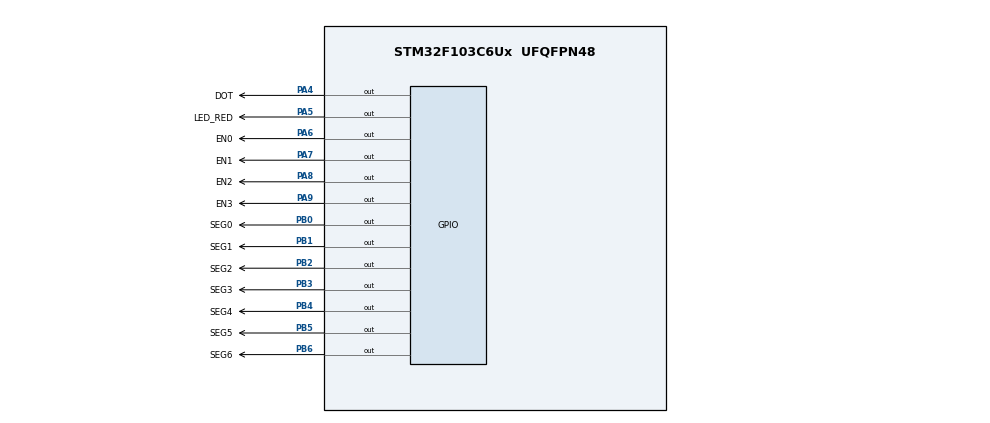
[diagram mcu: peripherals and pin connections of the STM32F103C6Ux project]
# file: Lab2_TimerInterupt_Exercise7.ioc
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Mcu.Family=STM32F1
Mcu.Name=STM32F103C6Ux
Mcu.Package=UFQFPN48
NVIC.PriorityGroup=NVIC_PRIORITYGROUP_4
NVIC.TIM2_IRQn=true\:0\:0\:false\:false\:true\:true\:true
PA4.GPIO_Label=DOT
PA4.Signal=GPIO_Output
PA5.GPIO_Label=LED_RED
PA5.Signal=GPIO_Output
PA6.GPIO_Label=EN0
PA6.Signal=GPIO_Output
PA7.GPIO_Label=EN1
PA7.Signal=GPIO_Output
PA8.GPIO_Label=EN2
PA8.Signal=GPIO_Output
PA9.GPIO_Label=EN3
PA9.Signal=GPIO_Output
PB0.GPIO_Label=SEG0
PB0.Signal=GPIO_Output
PB1.GPIO_Label=SEG1
PB1.Signal=GPIO_Output
PB2.GPIO_Label=SEG2
PB2.Signal=GPIO_Output
PB3.GPIO_Label=SEG3
PB3.Signal=GPIO_Output
PB4.GPIO_Label=SEG4
PB4.Signal=GPIO_Output
PB5.GPIO_Label=SEG5
PB5.Signal=GPIO_Output
PB6.GPIO_Label=SEG6
PB6.Signal=GPIO_Output
ProjectManager.HeapSize=0x200
ProjectManager.StackSize=0x400
ProjectManager.TargetToolchain=STM32CubeIDE
RCC.APB1Freq_Value=8000000
RCC.APB2Freq_Value=8000000
TIM2.Period=9
TIM2.Prescaler=7999
VP_SYS_VS_ND.Mode=No_Debug
VP_TIM2_VS_ClockSourceINT.Mode=Internal
board=custom

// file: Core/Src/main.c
/* USER CODE BEGIN Header */
/**
  ******************************************************************************
  * @file           : main.c
  * @brief          : Main program body
  ******************************************************************************
  * @attention
  *
  * <h2><center>&copy; Copyright (c) 2022 STMicroelectronics.
  * All rights reserved.</center></h2>
  *
  * This software component is licensed by ST under BSD 3-Clause license,
  * the "License"; You may not use this file except in compliance with the
  * License. You may obtain a copy of the License at:
  *                        opensource.org/licenses/BSD-3-Clause
  *
  ******************************************************************************
  */
/* USER CODE END Header */
#include "main.h"

TIM_HandleTypeDef htim2;

void SystemClock_Config(void);
static void MX_GPIO_Init(void);
static void MX_TIM2_Init(void);

/* USER CODE BEGIN 0 */
//counter to change the frequency of 4 seven segment leds to 1Hz
const int COUNTER_SCAN_1HZ = 25;
int timer7seg_counter = 0;
int timer7seg_flag = 0;
int timerClock_counter = 0;
int timerClock_flag = 0;
int timerDOT_counter = 0;
int timerDOT_flag = 0;
int TIMER_CYCLE = 10;

void setTimerClock(int duration){
	timerClock_counter = duration / TIMER_CYCLE;
	timerClock_flag = 0;
}

void setTimerDOT(int duration){
	timerDOT_counter = duration / TIMER_CYCLE;
	timerDOT_flag = 0;
}

void setTimer7SEG(int duration){
	timer7seg_counter = duration / TIMER_CYCLE;
	timer7seg_flag = 0;
}

void timerRun(){
	if (timerClock_counter > 0){
		timerClock_counter--;
		if (timerClock_counter == 0) timerClock_flag = 1;
	}
	if (timerDOT_counter > 0){
		timerDOT_counter--;
		if (timerDOT_counter == 0) timerDOT_flag = 1;
	}
	if (timer7seg_counter > 0){
		timer7seg_counter--;
		if (timer7seg_counter == 0) timer7seg_flag = 1;
	}
}

void display7SEG(int num){
	//outputs: SEG7 -> SEG0
	//outputs with value of 0 (RESET) will be turn on
	//outputs with value of 1 (SET) will be turn off
	if (num == 0){ //100 0000
		HAL_GPIO_WritePin(GPIOB, SEG0_Pin|SEG1_Pin|SEG2_Pin
								|SEG3_Pin|SEG4_Pin|SEG5_Pin, GPIO_PIN_RESET);
		HAL_GPIO_WritePin(GPIOB, SEG6_Pin, GPIO_PIN_SET);
	}
	else if (num == 1){ //111 1001
		HAL_GPIO_WritePin(GPIOB, SEG1_Pin|SEG2_Pin, GPIO_PIN_RESET);
		HAL_GPIO_WritePin(GPIOB, SEG0_Pin|SEG3_Pin|SEG4_Pin
								|SEG5_Pin|SEG6_Pin, GPIO_PIN_SET);
	}
	else if (num == 2){ //010 0100
		HAL_GPIO_WritePin(GPIOB, SEG0_Pin|SEG1_Pin|SEG3_Pin
								|SEG4_Pin|SEG6_Pin, GPIO_PIN_RESET);
		HAL_GPIO_WritePin(GPIOB, SEG2_Pin|SEG5_Pin, GPIO_PIN_SET);
	}
	else if (num == 3){ //011 0000
		HAL_GPIO_WritePin(GPIOB, SEG0_Pin|SEG1_Pin|SEG2_Pin
								|SEG3_Pin|SEG6_Pin, GPIO_PIN_RESET);
		HAL_GPIO_WritePin(GPIOB, SEG4_Pin|SEG5_Pin, GPIO_PIN_SET);
	}
	else if (num == 4){ //001 1001
		HAL_GPIO_WritePin(GPIOB, SEG1_Pin|SEG2_Pin|SEG5_Pin
								|SEG6_Pin, GPIO_PIN_RESET);
		HAL_GPIO_WritePin(GPIOB, SEG0_Pin|SEG3_Pin|SEG4_Pin, GPIO_PIN_SET);
	}
	else if (num == 5){ //001 0010
		HAL_GPIO_WritePin(GPIOB, SEG0_Pin|SEG2_Pin|SEG3_Pin
								|SEG5_Pin|SEG6_Pin, GPIO_PIN_RESET);
		HAL_GPIO_WritePin(GPIOB, SEG1_Pin|SEG4_Pin, GPIO_PIN_SET);
	}
	else if (num == 6){ //000 0010
		HAL_GPIO_WritePin(GPIOB, SEG0_Pin|SEG2_Pin|SEG3_Pin
								|SEG4_Pin|SEG5_Pin|SEG6_Pin, GPIO_PIN_RESET);
		HAL_GPIO_WritePin(GPIOB, SEG1_Pin, GPIO_PIN_SET);
	}
	else if (num == 7){ //111 1000
		HAL_GPIO_WritePin(GPIOB, SEG0_Pin|SEG1_Pin|SEG2_Pin, GPIO_PIN_RESET);
		HAL_GPIO_WritePin(GPIOB, SEG3_Pin|SEG4_Pin|SEG5_Pin
								|SEG6_Pin, GPIO_PIN_SET);
	}
	else if (num == 8){ //000 0000
		HAL_GPIO_WritePin(GPIOB, SEG0_Pin|SEG1_Pin|SEG2_Pin
								|SEG3_Pin|SEG4_Pin|SEG5_Pin
								|SEG6_Pin, GPIO_PIN_RESET);
	}
	else if (num == 9){ //001 0000
		HAL_GPIO_WritePin(GPIOB, SEG0_Pin|SEG1_Pin|SEG2_Pin
								|SEG3_Pin|SEG5_Pin|SEG6_Pin, GPIO_PIN_RESET);
		HAL_GPIO_WritePin(GPIOB, SEG4_Pin, GPIO_PIN_SET);
	}
}

const int MAX_LED = 4;
int index_led = 0;
int led_buffer[4] = {1, 2, 3, 4};
void update7SEG(int index){
	switch (index){
		case 0:
			//turn on first 7seg led only
			HAL_GPIO_WritePin(EN0_GPIO_Port, EN0_Pin, GPIO_PIN_RESET);
			HAL_GPIO_WritePin(EN1_GPIO_Port, EN1_Pin, GPIO_PIN_SET);
			HAL_GPIO_WritePin(EN2_GPIO_Port, EN2_Pin, GPIO_PIN_SET);
			HAL_GPIO_WritePin(EN3_GPIO_Port, EN3_Pin, GPIO_PIN_SET);
			break;
		case 1:
			//turn on second 7seg led only
			HAL_GPIO_WritePin(EN0_GPIO_Port, EN0_Pin, GPIO_PIN_SET);
			HAL_GPIO_WritePin(EN1_GPIO_Port, EN1_Pin, GPIO_PIN_RESET);
			HAL_GPIO_WritePin(EN2_GPIO_Port, EN2_Pin, GPIO_PIN_SET);
			HAL_GPIO_WritePin(EN3_GPIO_Port, EN3_Pin, GPIO_PIN_SET);
			break;
		case 2:
			//turn on third 7seg led only
			HAL_GPIO_WritePin(EN0_GPIO_Port, EN0_Pin, GPIO_PIN_SET);
			HAL_GPIO_WritePin(EN1_GPIO_Port, EN1_Pin, GPIO_PIN_SET);
			HAL_GPIO_WritePin(EN2_GPIO_Port, EN2_Pin, GPIO_PIN_RESET);
			HAL_GPIO_WritePin(EN3_GPIO_Port, EN3_Pin, GPIO_PIN_SET);
			break;
		case 3:
			//turn on fourth 7seg led only
			HAL_GPIO_WritePin(EN0_GPIO_Port, EN0_Pin, GPIO_PIN_SET);
			HAL_GPIO_WritePin(EN1_GPIO_Port, EN1_Pin, GPIO_PIN_SET);
			HAL_GPIO_WritePin(EN2_GPIO_Port, EN2_Pin, GPIO_PIN_SET);
			HAL_GPIO_WritePin(EN3_GPIO_Port, EN3_Pin, GPIO_PIN_RESET);
			break;
		default:
			break;
	}
	//display number according to led_buffer and index
	display7SEG(led_buffer[index]);
}

int hour = 23, minute = 58, second = 50;

void updateClockBuffer(){
	led_buffer[0] = hour / 10;
	led_buffer[1] = hour % 10;
	led_buffer[2] = minute / 10;
	led_buffer[3] = minute % 10;
}
/* USER CODE END 0 */

int main(void)
{

  /* MCU Configuration--------------------------------------------------------*/

  /* Reset of all peripherals, Initializes the Flash interface and the Systick. */
  HAL_Init();

  /* Configure the system clock */
  SystemClock_Config();

  /* Initialize all configured peripherals */
  MX_GPIO_Init();
  MX_TIM2_Init();
  /* USER CODE BEGIN 2 */
  HAL_TIM_Base_Start_IT(&htim2);

  setTimerClock(10);
  setTimerDOT(1000);
  setTimer7SEG(10);

  int ledDOT_state = 0;
  /* USER CODE END 2 */

  /* Infinite loop */
  /* USER CODE BEGIN WHILE */
  while (1)
  {
	  if (timerClock_flag == 1){
		  setTimerClock(1000);
		  second++;
		  if (second >= 60){
			  second = 0;
			  minute++;
		  }
		  if (minute >= 60){
			  minute = 0;
			  hour++;
		  }
		  if (hour >= 24){
			  hour = 0;
		  }
		  updateClockBuffer();
	  }

	  if (timer7seg_flag == 1){
		  //set timer for 1Hz frequency
		  setTimer7SEG(250);
		  //updated index_led to stay in valid range, which is from 0 to 3
		  index_led %= MAX_LED;
		  //update 7seg leds
		  update7SEG(index_led++);
	  }

	  if (timerDOT_flag == 1){
		  //1 second blinking
		  setTimerDOT(1000);
		  ledDOT_state = 1 - ledDOT_state;
	  }

	  switch (ledDOT_state){
		  case 0:
			  //turn DOT leds on
			  HAL_GPIO_WritePin(DOT_GPIO_Port, DOT_Pin, RESET);
			  break;
		  case 1:
			  //turn DOT leds off
			  HAL_GPIO_WritePin(DOT_GPIO_Port, DOT_Pin, SET);
			  break;
		  default:
			  break;
	  }
    /* USER CODE END WHILE */

  }
}

void SystemClock_Config(void)
{
  RCC_OscInitTypeDef RCC_OscInitStruct = {0};
  RCC_ClkInitTypeDef RCC_ClkInitStruct = {0};

  /** Initializes the RCC Oscillators according to the specified parameters
  * in the RCC_OscInitTypeDef structure.
  */
  RCC_OscInitStruct.OscillatorType = RCC_OSCILLATORTYPE_HSI;
  RCC_OscInitStruct.HSIState = RCC_HSI_ON;
  RCC_OscInitStruct.HSICalibrationValue = RCC_HSICALIBRATION_DEFAULT;
  RCC_OscInitStruct.PLL.PLLState = RCC_PLL_NONE;
  if (HAL_RCC_OscConfig(&RCC_OscInitStruct) != HAL_OK)
  {
    Error_Handler();
  }
  /** Initializes the CPU, AHB and APB buses clocks
  */
  RCC_ClkInitStruct.ClockType = RCC_CLOCKTYPE_HCLK|RCC_CLOCKTYPE_SYSCLK
                              |RCC_CLOCKTYPE_PCLK1|RCC_CLOCKTYPE_PCLK2;
  RCC_ClkInitStruct.SYSCLKSource = RCC_SYSCLKSOURCE_HSI;
  RCC_ClkInitStruct.AHBCLKDivider = RCC_SYSCLK_DIV1;
  RCC_ClkInitStruct.APB1CLKDivider = RCC_HCLK_DIV1;
  RCC_ClkInitStruct.APB2CLKDivider = RCC_HCLK_DIV1;

  if (HAL_RCC_ClockConfig(&RCC_ClkInitStruct, FLASH_LATENCY_0) != HAL_OK)
  {
    Error_Handler();
  }
}

static void MX_TIM2_Init(void)
{

  TIM_ClockConfigTypeDef sClockSourceConfig = {0};
  TIM_MasterConfigTypeDef sMasterConfig = {0};

  htim2.Instance = TIM2;
  htim2.Init.Prescaler = 7999;
  htim2.Init.CounterMode = TIM_COUNTERMODE_UP;
  htim2.Init.Period = 9;
  htim2.Init.ClockDivision = TIM_CLOCKDIVISION_DIV1;
  htim2.Init.AutoReloadPreload = TIM_AUTORELOAD_PRELOAD_DISABLE;
  if (HAL_TIM_Base_Init(&htim2) != HAL_OK)
  {
    Error_Handler();
  }
  sClockSourceConfig.ClockSource = TIM_CLOCKSOURCE_INTERNAL;
  if (HAL_TIM_ConfigClockSource(&htim2, &sClockSourceConfig) != HAL_OK)
  {
    Error_Handler();
  }
  sMasterConfig.MasterOutputTrigger = TIM_TRGO_RESET;
  sMasterConfig.MasterSlaveMode = TIM_MASTERSLAVEMODE_DISABLE;
  if (HAL_TIMEx_MasterConfigSynchronization(&htim2, &sMasterConfig) != HAL_OK)
  {
    Error_Handler();
  }

}

static void MX_GPIO_Init(void)
{
  GPIO_InitTypeDef GPIO_InitStruct = {0};

  /* GPIO Ports Clock Enable */
  __HAL_RCC_GPIOA_CLK_ENABLE();
  __HAL_RCC_GPIOB_CLK_ENABLE();

  /*Configure GPIO pin Output Level */
  HAL_GPIO_WritePin(GPIOA, DOT_Pin|LED_RED_Pin|EN0_Pin|EN1_Pin
                          |EN2_Pin|EN3_Pin, GPIO_PIN_RESET);

  /*Configure GPIO pin Output Level */
  HAL_GPIO_WritePin(GPIOB, SEG0_Pin|SEG1_Pin|SEG2_Pin|SEG3_Pin
                          |SEG4_Pin|SEG5_Pin|SEG6_Pin, GPIO_PIN_RESET);

  /*Configure GPIO pins : DOT_Pin LED_RED_Pin EN0_Pin EN1_Pin
                           EN2_Pin EN3_Pin */
  GPIO_InitStruct.Pin = DOT_Pin|LED_RED_Pin|EN0_Pin|EN1_Pin
                          |EN2_Pin|EN3_Pin;
  GPIO_InitStruct.Mode = GPIO_MODE_OUTPUT_PP;
  GPIO_InitStruct.Pull = GPIO_NOPULL;
  GPIO_InitStruct.Speed = GPIO_SPEED_FREQ_LOW;
  HAL_GPIO_Init(GPIOA, &GPIO_InitStruct);

  /*Configure GPIO pins : SEG0_Pin SEG1_Pin SEG2_Pin SEG3_Pin
                           SEG4_Pin SEG5_Pin SEG6_Pin */
  GPIO_InitStruct.Pin = SEG0_Pin|SEG1_Pin|SEG2_Pin|SEG3_Pin
                          |SEG4_Pin|SEG5_Pin|SEG6_Pin;
  GPIO_InitStruct.Mode = GPIO_MODE_OUTPUT_PP;
  GPIO_InitStruct.Pull = GPIO_NOPULL;
  GPIO_InitStruct.Speed = GPIO_SPEED_FREQ_LOW;
  HAL_GPIO_Init(GPIOB, &GPIO_InitStruct);

}

/* USER CODE BEGIN 4 */

int led7seg_counter = 0;
//int led7seg_state = 0;

void HAL_TIM_PeriodElapsedCallback(TIM_HandleTypeDef *htim)
{
	timerRun();
	led7seg_counter--;
	if (led7seg_counter <= 0){
		//reset counter
		led7seg_counter = COUNTER_SCAN_1HZ;
		//updated index_led to stay in valid range, which is from 0 to 3
		index_led %= MAX_LED;
		//update 7seg leds
		update7SEG(index_led++);
	}
}
/* USER CODE END 4 */

void Error_Handler(void)
{
  __disable_irq();
  while (1)
  {
  }
}

/************************ (C) COPYRIGHT STMicroelectronics *****END OF FILE****/
